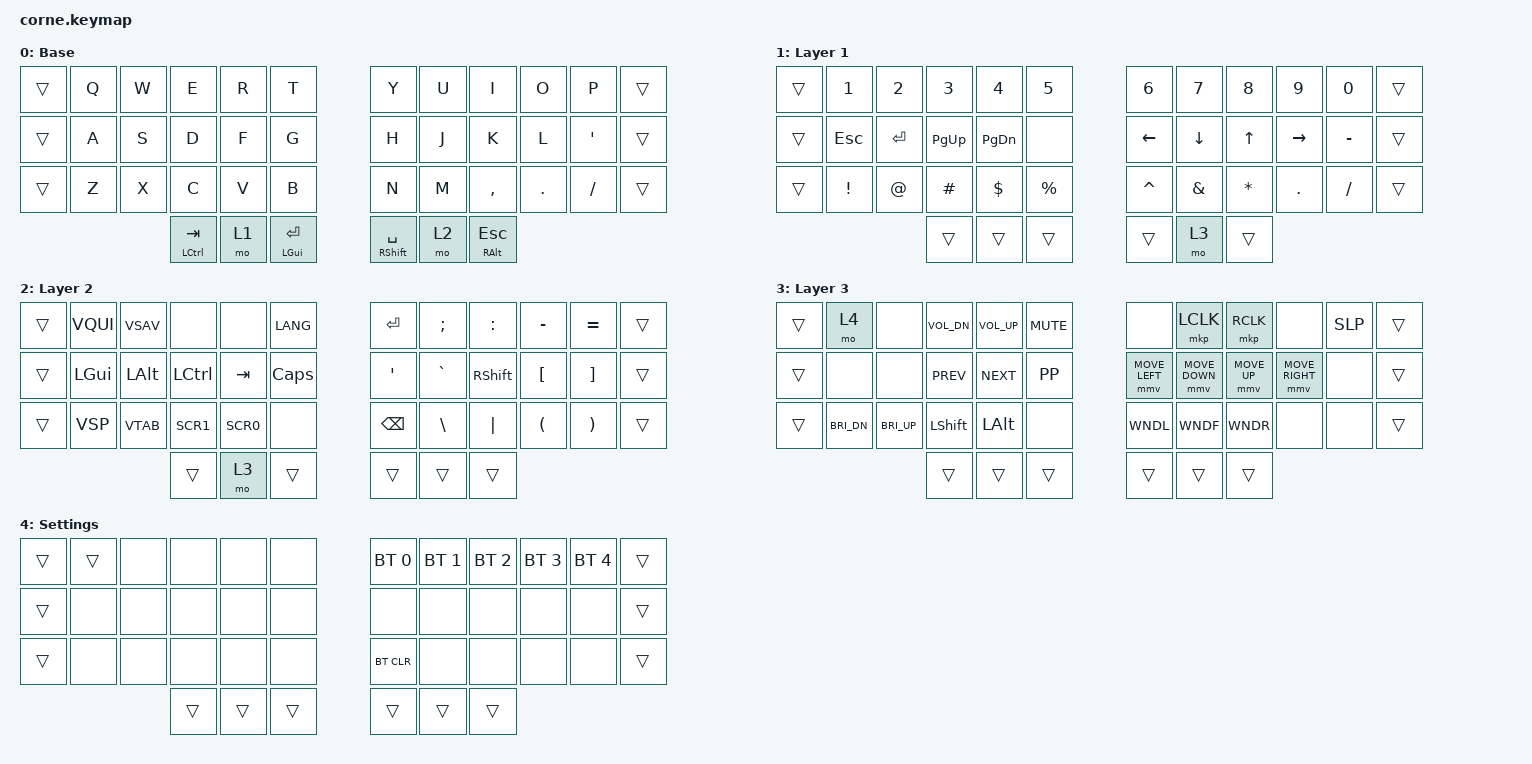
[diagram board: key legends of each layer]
/*
 * Copyright (c) 2020 The ZMK Contributors
 * SPDX-License-Identifier: MIT
 */

#include <behaviors.dtsi>
#include <dt-bindings/zmk/keys.h>
#include <dt-bindings/zmk/bt.h>
#include <dt-bindings/zmk/pointing.h>

// Must enable unicode language input in OS system preferences.
#define HOST_OS 2
// Set up ZMK helpers for language special characters
#include "zmk-helpers/helper.h"
// Source desired key-position labels
#include "zmk-helpers/key-labels/36.h"
// Source unicode-chars for desired languages
#include "zmk-helpers/unicode-chars/japanese.dtsi"

&mt {
    tapping-term-ms = <150>;
};

/ {
    macros {
        // Switch keyboard language
        LANG: LANG {
            compatible = "zmk,behavior-macro";
            #binding-cells = <0>;
            bindings = <&macro_tap &kp LC(LA(SPACE))>;
        };
        // Spectacle: fullsize window
        WNDF: WNDF {
            compatible = "zmk,behavior-macro";
            #binding-cells = <0>;
            bindings = <&macro_tap &kp RC(RA(DOWN))>;
        };
        // Spectacle: left half
        WNDL: WNDL {
            compatible = "zmk,behavior-macro";
            #binding-cells = <0>;
            bindings = <&macro_tap &kp RC(RA(LEFT))>;
        };
        // Spectacle: right half
        WNDR: WNDR {
            compatible = "zmk,behavior-macro";
            #binding-cells = <0>;
            bindings = <&macro_tap &kp RC(RA(RIGHT))>;
        };
        // Put display to sleep
        SLP: SLP {
            compatible = "zmk,behavior-macro";
            #binding-cells = <0>;
            bindings = <&macro_tap &kp LG(LC(Q))>;
        };
        // Take screenshot
        SCR0: SCR0 {
            compatible = "zmk,behavior-macro";
            #binding-cells = <0>;
            bindings = <&macro_tap &kp LG(LS(3))>;
        };
        // Take partial screenshot
        SCR1: SCR1 {
            compatible = "zmk,behavior-macro";
            #binding-cells = <0>;
            bindings = <&macro_tap &kp LG(LS(4))>;
        };

        // Vim save
        VSAV: VSAV {
            compatible = "zmk,behavior-macro";
            #binding-cells = <0>;
            bindings = <&macro_tap &kp COLON &kp W &kp RET>;
        };
        // Vim quit
        VQUI: VQUI {
            compatible = "zmk,behavior-macro";
            #binding-cells = <0>;
            bindings = <&macro_tap &kp COLON &kp Q &kp RET>;
        };
        // Vim split
        VSP: VSP {
            compatible = "zmk,behavior-macro";
            #binding-cells = <0>;
            bindings = <&macro_tap &kp COLON &kp S &kp P &kp SPACE>;
        };
        // Vim insert tabs
        VTAB: VTAB {
            compatible = "zmk,behavior-macro";
            #binding-cells = <0>;
            bindings = <&macro_tap &kp COLON &kp S &kp FSLH &kp CARET &kp SPACE &kp SPACE &kp FSLH>;
        };
    };

    keymap {
        compatible = "zmk,keymap";

        layer0 {
            display-name = "Base";
// LAYER 0
// -----------------------------------------------------------------------------------------
// | |  Q  |  W  |  E  |  R  |  T  |   |  Y  |  U   |  I  |  O  |  P  | |
// | |  A  |  S  |  D  |  F  |  G  |   |  H  |  J   |  K  |  L  |  '  | |
// | |  Z  |  X  |  C  |  V  |  B  |   |  N  |  M   |  ,  |  .  |  /  | |
//       | CTL/TAB | mo1 | GUI/ENT |   | SFT/SPC | mo2 | ALT/ESC |
//
            bindings = <
&trans &kp Q &kp W &kp E &kp R &kp T   &kp Y &kp U  &kp I     &kp O   &kp P      &trans
&trans &kp A &kp S &kp D &kp F &kp G   &kp H &kp J  &kp K     &kp L   &kp SQT    &trans
&trans &kp Z &kp X &kp C &kp V &kp B   &kp N &kp M  &kp COMMA &kp DOT &kp FSLH   &trans
   &mt LCTRL TAB &mo 1 &mt LGUI RET    &mt RSHFT SPACE &mo 2 &mt RALT ESC
            >;
        };

        layer1 {
            display-name = "Layer 1";
// LAYER 1 - num, navigation, symbols
// -----------------------------------------------------------------------------------------
// | |  1  |  2  |  3  |  4  |  5  |   |  6  |  7  |  8  |  9  |  0  | |
// | | ESC | ENT | PGUP| PGDN|     |   | LEFT| DOWN| UP  |RIGHT|  -  | |
// | |  !  |  @  |  #  |  $  |  %  |   |  ^  |  &  |  *  |  .  |  /  | |
//               |     |     |     |   |     | mo3 |    |
//
            bindings = <
&trans &kp N1   &kp N2  &kp N3    &kp N4    &kp N5     &kp N6    &kp N7   &kp N8   &kp N9    &kp N0    &trans
&trans &kp ESC  &kp RET &kp PG_UP &kp PG_DN &none      &kp LEFT  &kp DOWN &kp UP   &kp RIGHT &kp MINUS &trans
&trans &kp EXCL &kp AT  &kp HASH  &kp DLLR  &kp PRCNT  &kp CARET &kp AMPS &kp STAR &kp DOT   &kp SLASH &trans
                                 &trans &trans &trans  &trans &mo 3 &trans
            >;
        };

        layer2 {
             display-name = "Layer 2";
// LAYER 2 - LH shortcuts, RH vim
// -----------------------------------------------------------------------------------------
// | | VQUI| VSAV|     |     | LANG|   | ENT |  ;  |  :  |  -  |  =  | |
// | | GUI | ALT | CTL | TAB | CAPS|   |  '  |  `  | SFT |  [  |  ]  | |
// | | VSP | VTAB| SCR1| SCR0|     |   | BSPC|  \  | `|` |  (  |  )  | |
//               |     | mo3 |     |   |     |     |     |
//
             bindings = <
&trans &VQUI    &VSAV    &none     &none    &LANG      &kp RET   &kp SEMI  &kp COLON &kp MINUS &kp EQUAL &trans
&trans &kp LGUI &kp LALT &kp LCTRL &kp TAB  &kp CAPS   &kp SQT   &kp GRAVE &kp RSHFT &kp LBKT  &kp RBKT  &trans
&trans &VSP     &VTAB    &SCR1     &SCR0    &none      &kp BSPC  &kp BSLH  &kp PIPE  &kp LPAR  &kp RPAR  &trans
                                  &trans &mo 3 &trans  &trans &trans &trans
             >;
        };

        layer3 {
             display-name = "Layer 3";
// LAYER 3 - media and extras
// -----------------------------------------------------------------------------------------
// | | mo4 |     | VOLD| VOLU| MUTE|   |     | LCLK| RCLK|     | SLP | |
// | |     |     | PREV| NEXT| PLAY|   | MSL | MSD | MSU | MSR |     | |
// | | BRID| BRIU| SFT | ALT |     |   | WNDL| WNDF| WNDR|     |     | |
//               |     |     |     |   |     |     |     |
//
             bindings = <
&trans &mo 4        &none        &kp K_VOL_DN &kp K_VOL_UP &kp K_MUTE  &none  &mkp LCLK &mkp RCLK &none &SLP       &trans
&trans &none        &none        &kp K_PREV   &kp K_NEXT   &kp K_PP    &mmv MOVE_LEFT &mmv MOVE_DOWN &mmv MOVE_UP &mmv MOVE_RIGHT &none &trans
&trans &kp C_BRI_DN &kp C_BRI_UP &kp LSHFT    &kp LALT     &none       &WNDL  &WNDF     &WNDR     &none &none &trans
                                                 &trans &trans &trans  &trans &trans &trans
             >;
        };

        layer4 {
             display-name = "Settings";
// LAYER 4 - settings we don't want to press on accident
// -----------------------------------------------------------------------------------------
// | | n/a |     |     |     |     |   | BT1 | BT2 | BT3 | BT4 | BT5 | |
// | |     |     |     |     |     |   |     |     |     |     |     | |
// | |     |     |     |     |     |   |BTCLR|     |     |     |     | |
//               |     |     |     |   |     |     |     |
//
             bindings = <
&trans &trans &none &none &none &none  &bt BT_SEL 0 &bt BT_SEL 1 &bt BT_SEL 2 &bt BT_SEL 3 &bt BT_SEL 4 &trans
&trans &none  &none &none &none &none  &none &none &none &none &none &trans
&trans &none  &none &none &none &none  &bt BT_CLR &none &none &none &none &trans
  &trans &trans &trans  &trans &trans &trans
             >;
        };

   };
};
